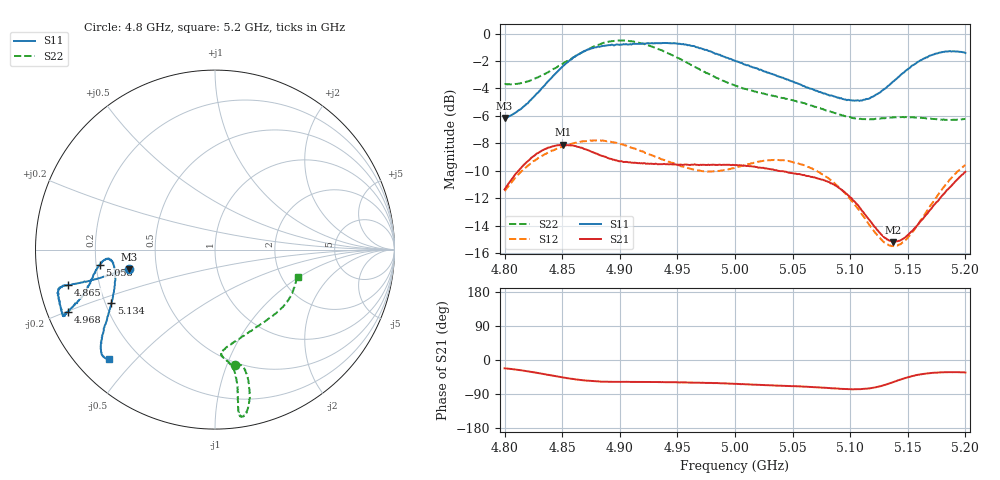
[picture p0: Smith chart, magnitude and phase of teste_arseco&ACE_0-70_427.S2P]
! Network Analyzer HP8722D
! Hewlett-Packard
! Data name: Linha & Wilkinson
! Saver's name: Rodrigo Anjos
! Comments: Teste da utilização de aquisição
! continua pelo VNA HP8722D
! Time and date: 8/5/2025 16:19
!  Frequency  S11  S21  S12  S22
# HZ  S  MA R 50
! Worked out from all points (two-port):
!   401 points, 4.8 GHz to 5.2 GHz, reference 50 ohm
!   highest |S21| = -8.10 dB at 4.851 GHz (marker M1); lowest = -15.2 dB at 5.137 GHz (marker M2)
!   |S21| within 3 dB of the highest: 4.802 GHz to 5.088 GHz (285.4 MHz wide, 5.77 % of centre); 5.187917 GHz to end of sweep
!   lowest |S11| = -6.2 dB at 4.8 GHz (marker M3), VSWR 2.94, Z = 17.2 - j5.03 ohm
!   |S11| at or under -10 dB: nowhere
!   |S22| runs from -6.3 to -0.5 dB; largest |S21 - S12| = 0.62
!   S11 on the Smith chart (normalised r, x): 4.8 GHz: 0.34, -0.10; 4.865 GHz: 0.09, -0.12; 4.968 GHz: 0.06, -0.20; 5.058 GHz: 0.21, -0.06; 5.134 GHz: 0.22, -0.23; 5.2 GHz: 0.10, -0.42
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4.8e9  0.4918 -167.0  0.2703 -21.9  0.2666 -143.1  0.6548 -80.1
4.826e9  0.5916 -166.7  0.3593 -32.8  0.3436 -147.4  0.6849 -76.2
4.851e9  0.7629 -166.1  0.3937 -46.3  0.3884 -151.8  0.7797 -75.8
4.865e9  0.8416 -166.6  0.3853 -52.3  0.4024 -153.9  0.8438 -76.8
4.867e9  0.8528 -166.5  0.3835 -53.1  0.404 -154.1  0.8536 -76.9
4.88e9  0.8913 -166.1  0.3648 -56.5  0.4081 -155.9  0.9062 -78.3
4.899e9  0.9102 -163.4  0.3425 -57.9  0.3973 -158.0  0.9429 -80.5
4.934e9  0.9225 -157.1  0.3342 -58.4  0.3521 -156.4  0.8755 -81.7
4.968e9  0.8896 -157.0  0.332 -60.0  0.317 -148.4  0.7456 -80.6
5e9  0.7959 -160.0  0.3313 -62.9  0.3244 -138.4  0.646 -82.4
5.035e9  0.7055 -166.5  0.3176 -67.4  0.3459 -136.1  0.5909 -86.4
5.058e9  0.6483 -172.6  0.3056 -70.0  0.333 -138.1  0.5608 -84.8
5.067e9  0.6278 -174.2  0.3003 -71.3  0.3221 -138.9  0.5453 -82.8
5.082e9  0.5943 -175.2  0.2871 -73.9  0.2947 -140.3  0.5206 -76.7
5.099e9  0.573 -171.9  0.2555 -76.9  0.2519 -140.3  0.4958 -66.7
5.114e9  0.5777 -164.8  0.2159 -75.8  0.2081 -136.0  0.4872 -55.9
5.134e9  0.6489 -152.8  0.1758 -61.7  0.1687 -117.2  0.4933 -42.6
5.137e9  0.6671 -151.1  0.174 -58.7  0.1681 -113.4  0.4949 -40.9
5.149e9  0.7361 -145.8  0.1828 -46.5  0.1785 -98.1  0.4957 -34.4
5.17e9  0.8327 -139.8  0.2289 -34.4  0.2373 -82.4  0.4897 -25.3
5.184e9  0.8601 -136.9  0.269 -32.1  0.2848 -78.6  0.4849 -20.7
5.2e9  0.8489 -134.3  0.3135 -33.0  0.3318 -78.5  0.488 -18.0
